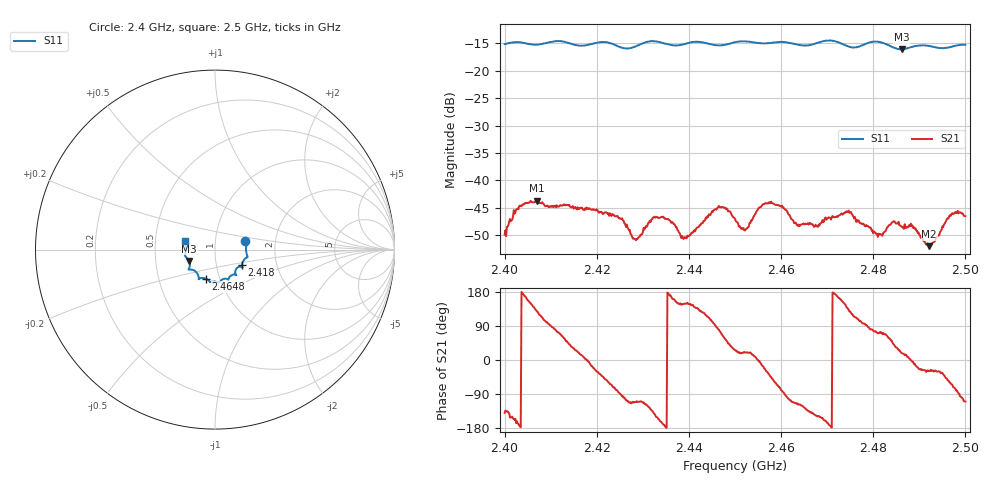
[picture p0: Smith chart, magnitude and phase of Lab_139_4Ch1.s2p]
# Hz S RI R 50
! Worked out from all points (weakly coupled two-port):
!   601 points, 2.4 GHz to 2.5 GHz, reference 50 ohm
!   highest |S21| = -43.70 dB at 2.407 GHz (marker M1); lowest = -52.0 dB at 2.4922 GHz (marker M2)
!   lowest |S11| = -16.1 dB at 2.4862 GHz (marker M3), VSWR 1.37, Z = 37.2 - j4.84 ohm
!   |S11| at or under -10 dB: start of sweep to end of sweep
!   S12 and S22 are empty: the file has one direction only
!   S11 on the Smith chart (normalised r, x): 2.4 GHz: 1.40, +0.13; 2.418 GHz: 1.33, -0.23; 2.4648 GHz: 0.86, -0.29; 2.5 GHz: 0.71, +0.07
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2.4e9  0.1687 0.0466  -0.00244 -0.00207  0 0  0 0
2.403e9  0.1792 0.0332  -0.00537 -0.00105  0 0  0 0
2.407e9  0.1727 -0.00316  -0.00404 0.00513  0 0  0 0
2.416667e9  0.1547 -0.0684  0.00551 0.00128  0 0  0 0
2.418e9  0.1503 -0.0837  0.00551 -8.29e-05  0 0  0 0
2.425e9  0.134 -0.0956  0.000116 -0.00453  0 0  0 0
2.428333e9  0.1132 -0.122  -0.00104 -0.00271  0 0  0 0
2.433333e9  0.1177 -0.141  -0.00414 -0.00189  0 0  0 0
2.439e9  0.0784 -0.1568  -0.00261 0.00156  0 0  0 0
2.446667e9  0.0476 -0.1636  0.00138 0.00556  0 0  0 0
2.45e9  0.0262 -0.1804  0.004 0.00198  0 0  0 0
2.4525e9  0.0206 -0.184  0.00343 0.00122  0 0  0 0
2.457833e9  -0.0163 -0.1788  0.00453 -0.00453  0 0  0 0
2.464833e9  -0.0506 -0.1624  -0.00224 -0.00338  0 0  0 0
2.466667e9  -0.0712 -0.1577  -0.00306 -0.00255  0 0  0 0
2.474667e9  -0.0985 -0.1339  -0.00358 0.00393  0 0  0 0
2.4805e9  -0.1476 -0.1109  0.000809 0.00322  0 0  0 0
2.483333e9  -0.141 -0.0965  0.00208 0.00327  0 0  0 0
2.486167e9  -0.1435 -0.0634  0.00359 0.00118  0 0  0 0
2.492167e9  -0.1661 -0.0274  0.00219 -0.00124  0 0  0 0
2.497e9  -0.1635 0.0272  0.00215 -0.00445  0 0  0 0
2.5e9  -0.1664 0.0468  -0.00159 -0.00444  0 0  0 0
